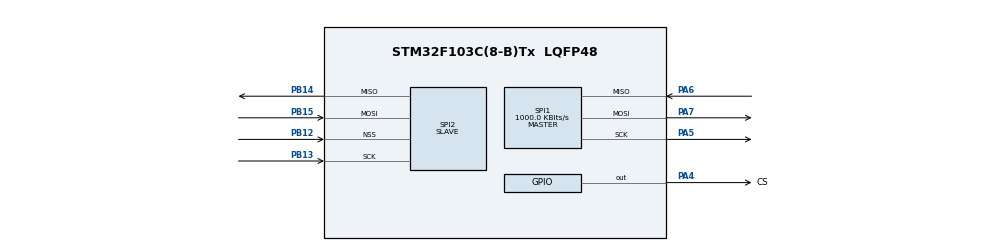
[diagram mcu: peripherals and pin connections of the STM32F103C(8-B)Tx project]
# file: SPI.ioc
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Mcu.Family=STM32F1
Mcu.Name=STM32F103C(8-B)Tx
Mcu.Package=LQFP48
NVIC.PriorityGroup=NVIC_PRIORITYGROUP_4
NVIC.SPI1_IRQn=true\:0\:0\:false\:false\:true\:true\:true\:true
NVIC.SPI2_IRQn=true\:0\:0\:false\:false\:true\:true\:true\:true
PA13.Mode=Serial_Wire
PA13.Signal=SYS_JTMS-SWDIO
PA14.Mode=Serial_Wire
PA14.Signal=SYS_JTCK-SWCLK
PA4.GPIO_Label=CS
PA4.PinState=GPIO_PIN_SET
PA4.Signal=GPIO_Output
PA5.Mode=Full_Duplex_Master
PA5.Signal=SPI1_SCK
PA6.Mode=Full_Duplex_Master
PA6.Signal=SPI1_MISO
PA7.Mode=Full_Duplex_Master
PA7.Signal=SPI1_MOSI
PB12.Mode=NSS_Signal_Hard_Input
PB12.Signal=SPI2_NSS
PB13.Mode=Full_Duplex_Slave
PB13.Signal=SPI2_SCK
PB14.Mode=Full_Duplex_Slave
PB14.Signal=SPI2_MISO
PB15.Mode=Full_Duplex_Slave
PB15.Signal=SPI2_MOSI
ProjectManager.HeapSize=0x200
ProjectManager.StackSize=0x400
ProjectManager.TargetToolchain=MDK-ARM V5.32
RCC.APB1Freq_Value=8000000
RCC.APB2Freq_Value=8000000
SPI1.BaudRatePrescaler=SPI_BAUDRATEPRESCALER_8
SPI1.CalculateBaudRate=1000.0 KBits/s
SPI1.Direction=SPI_DIRECTION_2LINES
SPI1.Mode=SPI_MODE_MASTER
SPI1.VirtualType=VM_MASTER
SPI2.Direction=SPI_DIRECTION_2LINES
SPI2.Mode=SPI_MODE_SLAVE
SPI2.VirtualNSS=VM_NSSHARD
SPI2.VirtualType=VM_SLAVE
board=custom

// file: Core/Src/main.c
/* USER CODE BEGIN Header */
/**
  ******************************************************************************
  * @file           : main.c
  * @brief          : Main program body
  ******************************************************************************
  * @attention
  *
  * Copyright (c) 2022 STMicroelectronics.
  * All rights reserved.
  *
  * This software is licensed under terms that can be found in the LICENSE file
  * in the root directory of this software component.
  * If no LICENSE file comes with this software, it is provided AS-IS.
  *
  ******************************************************************************
  */
/* USER CODE END Header */
#include "main.h"

/* USER CODE BEGIN Includes */
#include <stdio.h>
#define sizeofbuff 20
uint8_t u8_spi1_txbuff[sizeofbuff]="Master send";
uint8_t u8_spi2_rxbuff[sizeofbuff];
uint8_t count;
/* USER CODE END Includes */

SPI_HandleTypeDef hspi1;
SPI_HandleTypeDef hspi2;

void SystemClock_Config(void);
static void MX_GPIO_Init(void);
static void MX_SPI1_Init(void);
static void MX_SPI2_Init(void);
/* USER CODE BEGIN PFP */
void HAL_SPI_RxCpltCallback(SPI_HandleTypeDef *hspi)
{
  /* Prevent unused argument(s) compilation warning */
  UNUSED(hspi);
	if(hspi->Instance==SPI2)
		HAL_SPI_Receive_IT(&hspi2,u8_spi2_rxbuff,sizeofbuff);
  /* NOTE : This function should not be modified, when the callback is needed,
            the HAL_SPI_RxCpltCallback should be implemented in the user file
   */
}
/* USER CODE END PFP */

int main(void)
{

  /* MCU Configuration--------------------------------------------------------*/

  /* Reset of all peripherals, Initializes the Flash interface and the Systick. */
  HAL_Init();

  /* Configure the system clock */
  SystemClock_Config();

  /* Initialize all configured peripherals */
  MX_GPIO_Init();
  MX_SPI1_Init();
  MX_SPI2_Init();
  /* USER CODE BEGIN 2 */
	HAL_SPI_Receive_IT(&hspi2,u8_spi2_rxbuff,sizeofbuff);
	HAL_SPI_Transmit(&hspi1,u8_spi1_txbuff,sizeofbuff,100);
  /* USER CODE END 2 */

  /* Infinite loop */
  while (1)
  {

    /* USER CODE BEGIN 3 */
		sprintf((char*)u8_spi1_txbuff,"Gui lan thu: %d\n",count);
		HAL_GPIO_WritePin(CS_GPIO_Port,CS_Pin,GPIO_PIN_RESET);
		HAL_SPI_Transmit(&hspi1,u8_spi1_txbuff,sizeofbuff,100);
		HAL_GPIO_WritePin(CS_GPIO_Port,CS_Pin,GPIO_PIN_SET);
		count++;
		HAL_Delay(1000);
  }
  /* USER CODE END 3 */
}

void SystemClock_Config(void)
{
  RCC_OscInitTypeDef RCC_OscInitStruct = {0};
  RCC_ClkInitTypeDef RCC_ClkInitStruct = {0};

  /** Initializes the RCC Oscillators according to the specified parameters
  * in the RCC_OscInitTypeDef structure.
  */
  RCC_OscInitStruct.OscillatorType = RCC_OSCILLATORTYPE_HSI;
  RCC_OscInitStruct.HSIState = RCC_HSI_ON;
  RCC_OscInitStruct.HSICalibrationValue = RCC_HSICALIBRATION_DEFAULT;
  RCC_OscInitStruct.PLL.PLLState = RCC_PLL_NONE;
  if (HAL_RCC_OscConfig(&RCC_OscInitStruct) != HAL_OK)
  {
    Error_Handler();
  }

  /** Initializes the CPU, AHB and APB buses clocks
  */
  RCC_ClkInitStruct.ClockType = RCC_CLOCKTYPE_HCLK|RCC_CLOCKTYPE_SYSCLK
                              |RCC_CLOCKTYPE_PCLK1|RCC_CLOCKTYPE_PCLK2;
  RCC_ClkInitStruct.SYSCLKSource = RCC_SYSCLKSOURCE_HSI;
  RCC_ClkInitStruct.AHBCLKDivider = RCC_SYSCLK_DIV1;
  RCC_ClkInitStruct.APB1CLKDivider = RCC_HCLK_DIV1;
  RCC_ClkInitStruct.APB2CLKDivider = RCC_HCLK_DIV1;

  if (HAL_RCC_ClockConfig(&RCC_ClkInitStruct, FLASH_LATENCY_0) != HAL_OK)
  {
    Error_Handler();
  }
}

static void MX_SPI1_Init(void)
{

  /* SPI1 parameter configuration*/
  hspi1.Instance = SPI1;
  hspi1.Init.Mode = SPI_MODE_MASTER;
  hspi1.Init.Direction = SPI_DIRECTION_2LINES;
  hspi1.Init.DataSize = SPI_DATASIZE_8BIT;
  hspi1.Init.CLKPolarity = SPI_POLARITY_LOW;
  hspi1.Init.CLKPhase = SPI_PHASE_1EDGE;
  hspi1.Init.NSS = SPI_NSS_SOFT;
  hspi1.Init.BaudRatePrescaler = SPI_BAUDRATEPRESCALER_8;
  hspi1.Init.FirstBit = SPI_FIRSTBIT_MSB;
  hspi1.Init.TIMode = SPI_TIMODE_DISABLE;
  hspi1.Init.CRCCalculation = SPI_CRCCALCULATION_DISABLE;
  hspi1.Init.CRCPolynomial = 10;
  if (HAL_SPI_Init(&hspi1) != HAL_OK)
  {
    Error_Handler();
  }

}

static void MX_SPI2_Init(void)
{

  /* SPI2 parameter configuration*/
  hspi2.Instance = SPI2;
  hspi2.Init.Mode = SPI_MODE_SLAVE;
  hspi2.Init.Direction = SPI_DIRECTION_2LINES;
  hspi2.Init.DataSize = SPI_DATASIZE_8BIT;
  hspi2.Init.CLKPolarity = SPI_POLARITY_LOW;
  hspi2.Init.CLKPhase = SPI_PHASE_1EDGE;
  hspi2.Init.NSS = SPI_NSS_HARD_INPUT;
  hspi2.Init.FirstBit = SPI_FIRSTBIT_MSB;
  hspi2.Init.TIMode = SPI_TIMODE_DISABLE;
  hspi2.Init.CRCCalculation = SPI_CRCCALCULATION_DISABLE;
  hspi2.Init.CRCPolynomial = 10;
  if (HAL_SPI_Init(&hspi2) != HAL_OK)
  {
    Error_Handler();
  }

}

static void MX_GPIO_Init(void)
{
  GPIO_InitTypeDef GPIO_InitStruct = {0};

  /* GPIO Ports Clock Enable */
  __HAL_RCC_GPIOA_CLK_ENABLE();
  __HAL_RCC_GPIOB_CLK_ENABLE();

  /*Configure GPIO pin Output Level */
  HAL_GPIO_WritePin(GPIOA, GPIO_PIN_4, GPIO_PIN_SET);

  /*Configure GPIO pin : PA4 */
  GPIO_InitStruct.Pin = GPIO_PIN_4;
  GPIO_InitStruct.Mode = GPIO_MODE_OUTPUT_PP;
  GPIO_InitStruct.Pull = GPIO_NOPULL;
  GPIO_InitStruct.Speed = GPIO_SPEED_FREQ_LOW;
  HAL_GPIO_Init(GPIOA, &GPIO_InitStruct);

}

void Error_Handler(void)
{
  __disable_irq();
  while (1)
  {
  }
}
